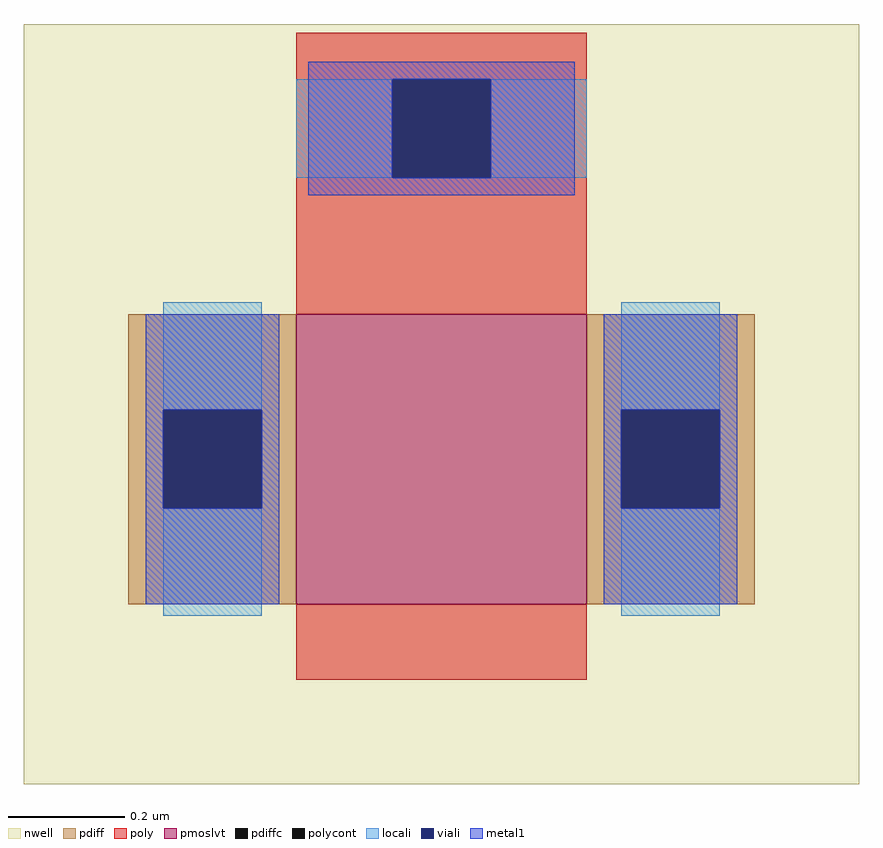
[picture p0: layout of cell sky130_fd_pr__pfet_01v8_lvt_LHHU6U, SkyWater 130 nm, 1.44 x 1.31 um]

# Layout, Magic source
magic
tech sky130A
magscale 1 2
<< nwell >>
rect -144 -148 144 114
<< pmoslvt >>
rect -50 -86 50 14
<< pdiff >>
rect -108 -19 -50 14
rect -108 -53 -96 -19
rect -62 -53 -50 -19
rect -108 -86 -50 -53
rect 50 -19 108 14
rect 50 -53 62 -19
rect 96 -53 108 -19
rect 50 -86 108 -53
<< pdiffc >>
rect -96 -53 -62 -19
rect 62 -53 96 -19
<< poly >>
rect -50 95 50 111
rect -50 61 -17 95
rect 17 61 50 95
rect -50 14 50 61
rect -50 -112 50 -86
<< polycont >>
rect -17 61 17 95
<< locali >>
rect -50 61 -17 95
rect 17 61 50 95
rect -96 -19 -62 18
rect -96 -90 -62 -53
rect 62 -19 96 18
rect 62 -90 96 -53
<< viali >>
rect -17 61 17 95
rect -96 -53 -62 -19
rect 62 -53 96 -19
<< metal1 >>
rect -46 95 46 101
rect -46 61 -17 95
rect 17 61 46 95
rect -46 55 46 61
rect -102 -19 -56 14
rect -102 -53 -96 -19
rect -62 -53 -56 -19
rect -102 -86 -56 -53
rect 56 -19 102 14
rect 56 -53 62 -19
rect 96 -53 102 -19
rect 56 -86 102 -53
<< end >>
